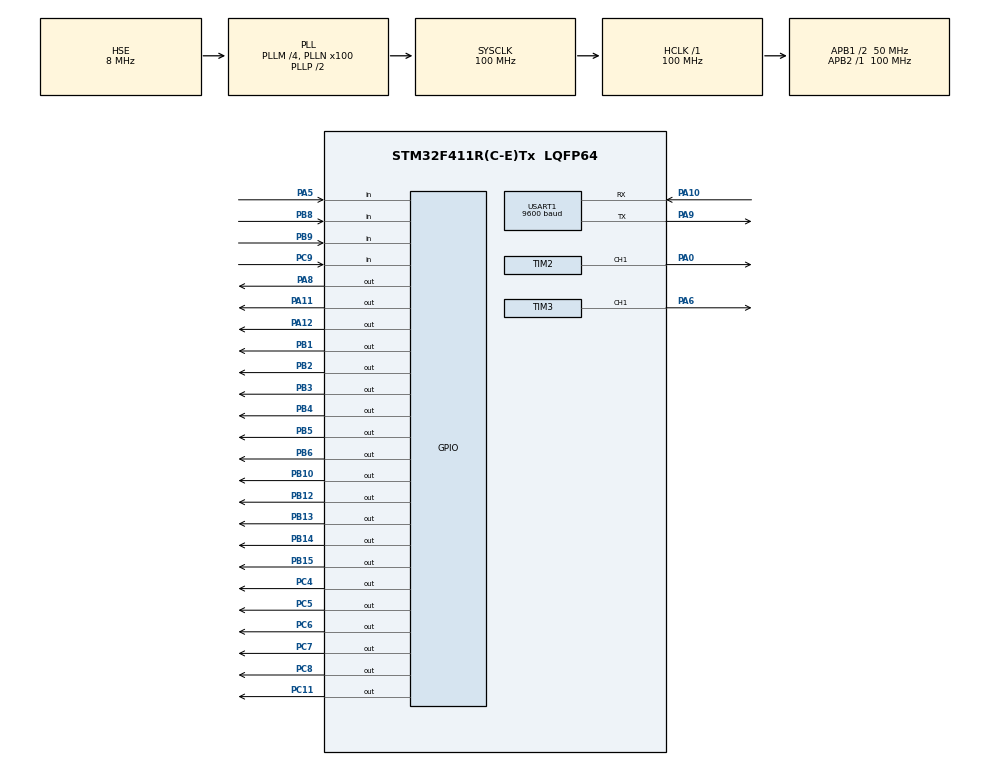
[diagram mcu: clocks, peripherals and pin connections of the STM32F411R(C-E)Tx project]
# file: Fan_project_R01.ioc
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Dma.Request0=USART1_RX
Dma.USART1_RX.0.Direction=DMA_PERIPH_TO_MEMORY
Dma.USART1_RX.0.FIFOMode=DMA_FIFOMODE_DISABLE
Dma.USART1_RX.0.Instance=DMA2_Stream2
Dma.USART1_RX.0.MemDataAlignment=DMA_MDATAALIGN_BYTE
Dma.USART1_RX.0.MemInc=DMA_MINC_ENABLE
Dma.USART1_RX.0.Mode=DMA_NORMAL
Dma.USART1_RX.0.PeriphDataAlignment=DMA_PDATAALIGN_BYTE
Dma.USART1_RX.0.PeriphInc=DMA_PINC_DISABLE
Dma.USART1_RX.0.Priority=DMA_PRIORITY_LOW
Mcu.Family=STM32F4
Mcu.Name=STM32F411R(C-E)Tx
Mcu.Package=LQFP64
NVIC.DMA2_Stream2_IRQn=true\:0\:0\:false\:false\:true\:false\:true\:true
NVIC.PriorityGroup=NVIC_PRIORITYGROUP_4
PA0-WKUP.Signal=S_TIM2_CH1_ETR
PA10.Mode=Asynchronous
PA10.Signal=USART1_RX
PA11.Signal=GPIO_Output
PA12.Signal=GPIO_Output
PA13.Mode=Serial_Wire
PA13.Signal=SYS_JTMS-SWDIO
PA14.Mode=Serial_Wire
PA14.Signal=SYS_JTCK-SWCLK
PA5.Signal=GPIO_Input
PA6.Signal=S_TIM3_CH1
PA8.Signal=GPIO_Output
PA9.Mode=Asynchronous
PA9.Signal=USART1_TX
PB1.Signal=GPIO_Output
PB10.Signal=GPIO_Output
PB12.Signal=GPIO_Output
PB13.Signal=GPIO_Output
PB14.Signal=GPIO_Output
PB15.Signal=GPIO_Output
PB2.Signal=GPIO_Output
PB3.Signal=GPIO_Output
PB4.Signal=GPIO_Output
PB5.Signal=GPIO_Output
PB6.Signal=GPIO_Output
PB8.Signal=GPIO_Input
PB9.Signal=GPIO_Input
PC11.Signal=GPIO_Output
PC4.Signal=GPIO_Output
PC5.Signal=GPIO_Output
PC6.Signal=GPIO_Output
PC7.Signal=GPIO_Output
PC8.Signal=GPIO_Output
PC9.Signal=GPIO_Input
PH0\ -\ OSC_IN.Mode=HSE-External-Clock-Source
PH0\ -\ OSC_IN.Signal=RCC_OSC_IN
PH1\ -\ OSC_OUT.Mode=HSE-External-Clock-Source
PH1\ -\ OSC_OUT.Signal=RCC_OSC_OUT
ProjectManager.HeapSize=0x200
ProjectManager.StackSize=0x400
ProjectManager.TargetToolchain=STM32CubeIDE
RCC.48MHZClocksFreq_Value=50000000
RCC.AHBFreq_Value=100000000
RCC.APB1CLKDivider=RCC_HCLK_DIV2
RCC.APB1Freq_Value=50000000
RCC.APB1TimFreq_Value=100000000
RCC.APB2Freq_Value=100000000
RCC.APB2TimFreq_Value=100000000
RCC.CortexFreq_Value=100000000
RCC.FLatency=FLASH_LATENCY_3
RCC.HCLKFreq_Value=100000000
RCC.HSE_VALUE=8000000
RCC.HSI_VALUE=16000000
RCC.LSE_VALUE=32768
RCC.PLLM=4
RCC.PLLN=100
RCC.PLLSourceVirtual=RCC_PLLSOURCE_HSE
RCC.SYSCLKFreq_VALUE=100000000
RCC.SYSCLKSource=RCC_SYSCLKSOURCE_PLLCLK
RCC.VCOOutputFreq_Value=200000000
SH.S_TIM2_CH1_ETR.0=TIM2_CH1,PWM Generation1 CH1
SH.S_TIM3_CH1.0=TIM3_CH1,PWM Generation1 CH1
TIM2.Channel-PWM\ Generation1\ CH1=TIM_CHANNEL_1
TIM2.Period=2000-1
TIM2.Prescaler=1000-1
TIM3.Channel-PWM\ Generation1\ CH1=TIM_CHANNEL_1
TIM3.Period=2000-1
TIM3.Prescaler=1000-1
USART1.BaudRate=9600
USART1.VirtualMode=VM_ASYNC
VP_TIM2_VS_ClockSourceINT.Mode=Internal
VP_TIM3_VS_ClockSourceINT.Mode=Internal
board=custom

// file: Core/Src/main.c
/* USER CODE BEGIN Header */
/**
  ******************************************************************************
  * @file           : main.c
  * @brief          : Main program body
  ******************************************************************************
  * @attention
  *
  * Copyright (c) 2026 STMicroelectronics.
  * All rights reserved.
  *
  * This software is licensed under terms that can be found in the LICENSE file
  * in the root directory of this software component.
  * If no LICENSE file comes with this software, it is provided AS-IS.
  *
  ******************************************************************************
  */
/* USER CODE END Header */
#include "main.h"
#include "dma.h"
#include "tim.h"
#include "usart.h"
#include "gpio.h"

/* USER CODE BEGIN Includes */

#include "led.h"
#include "button.h"
#include "servo.h"
#include "fnd.h"
#include "app.h"

/* USER CODE END Includes */

/* USER CODE BEGIN PV */

uint8_t rxData[10];

/* USER CODE END PV */

void SystemClock_Config(void);
/* USER CODE BEGIN PFP */

void HAL_UART_RxCpltCallback(UART_HandleTypeDef *huart)
{

  App_UartCommand(rxData[0]);   // 판단은 app에게 맡김
  HAL_UART_Receive_DMA(&huart1, rxData, 1);

}

/* USER CODE END PFP */

int main(void)
{

  /* MCU Configuration--------------------------------------------------------*/

  /* Reset of all peripherals, Initializes the Flash interface and the Systick. */
  HAL_Init();

  /* Configure the system clock */
  SystemClock_Config();

  /* Initialize all configured peripherals */
  MX_GPIO_Init();
  MX_DMA_Init();
  MX_TIM2_Init();
  MX_TIM3_Init();
  MX_USART1_UART_Init();
  /* USER CODE BEGIN 2 */

  // UART
  HAL_UART_Receive_DMA(&huart1, rxData, 1);

  // Button
  ButtonInit();

  // Servo
  Servo_Init();
  HAL_TIM_PWM_Start(&htim3, TIM_CHANNEL_1);

  // Fan
  HAL_TIM_PWM_Start(&htim2, TIM_CHANNEL_1);

  App_Init();

  /* USER CODE END 2 */

  /* Infinite loop */
  /* USER CODE BEGIN WHILE */
  while (1)
  {

  	App_Task();

    /* USER CODE END WHILE */

  }
}

void SystemClock_Config(void)
{
  RCC_OscInitTypeDef RCC_OscInitStruct = {0};
  RCC_ClkInitTypeDef RCC_ClkInitStruct = {0};

  /** Configure the main internal regulator output voltage
  */
  __HAL_RCC_PWR_CLK_ENABLE();
  __HAL_PWR_VOLTAGESCALING_CONFIG(PWR_REGULATOR_VOLTAGE_SCALE1);

  /** Initializes the RCC Oscillators according to the specified parameters
  * in the RCC_OscInitTypeDef structure.
  */
  RCC_OscInitStruct.OscillatorType = RCC_OSCILLATORTYPE_HSE;
  RCC_OscInitStruct.HSEState = RCC_HSE_BYPASS;
  RCC_OscInitStruct.PLL.PLLState = RCC_PLL_ON;
  RCC_OscInitStruct.PLL.PLLSource = RCC_PLLSOURCE_HSE;
  RCC_OscInitStruct.PLL.PLLM = 4;
  RCC_OscInitStruct.PLL.PLLN = 100;
  RCC_OscInitStruct.PLL.PLLP = RCC_PLLP_DIV2;
  RCC_OscInitStruct.PLL.PLLQ = 4;
  if (HAL_RCC_OscConfig(&RCC_OscInitStruct) != HAL_OK)
  {
    Error_Handler();
  }

  /** Initializes the CPU, AHB and APB buses clocks
  */
  RCC_ClkInitStruct.ClockType = RCC_CLOCKTYPE_HCLK|RCC_CLOCKTYPE_SYSCLK
                              |RCC_CLOCKTYPE_PCLK1|RCC_CLOCKTYPE_PCLK2;
  RCC_ClkInitStruct.SYSCLKSource = RCC_SYSCLKSOURCE_PLLCLK;
  RCC_ClkInitStruct.AHBCLKDivider = RCC_SYSCLK_DIV1;
  RCC_ClkInitStruct.APB1CLKDivider = RCC_HCLK_DIV2;
  RCC_ClkInitStruct.APB2CLKDivider = RCC_HCLK_DIV1;

  if (HAL_RCC_ClockConfig(&RCC_ClkInitStruct, FLASH_LATENCY_3) != HAL_OK)
  {
    Error_Handler();
  }
}

void Error_Handler(void)
{
  __disable_irq();
  while (1)
  {
  }
}
